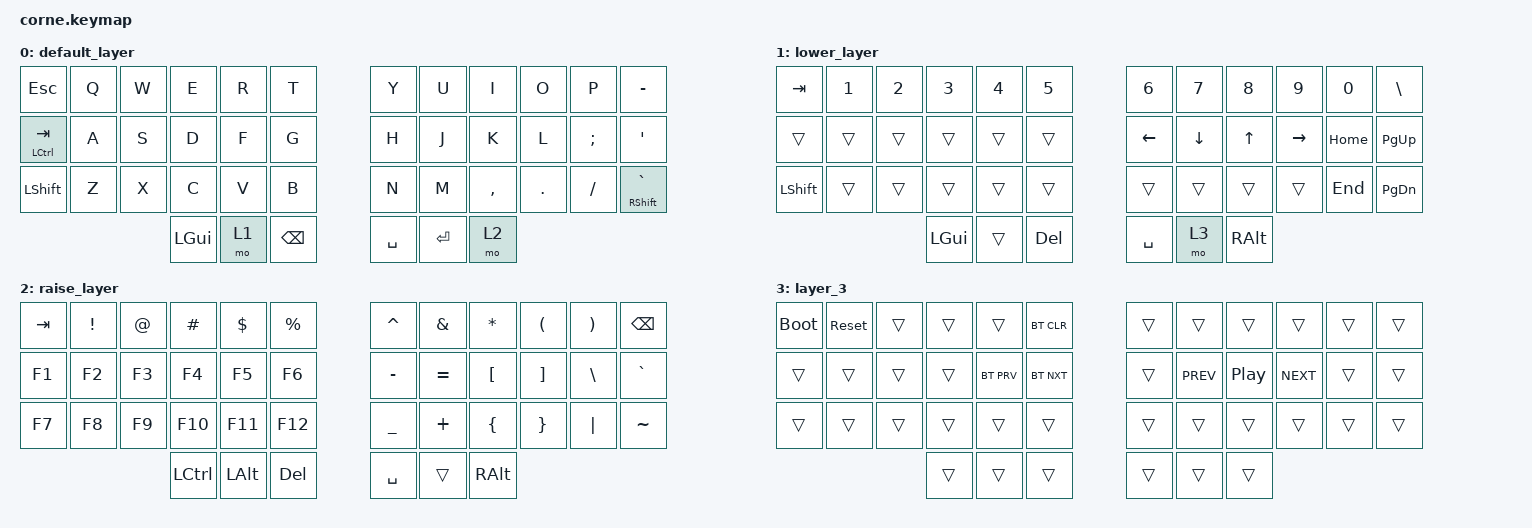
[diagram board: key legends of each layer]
/*
 * Copyright (c) 2020 The ZMK Contributors
 *
 * SPDX-License-Identifier: MIT
 */

#include <behaviors.dtsi>
#include <dt-bindings/zmk/bt.h>
#include <dt-bindings/zmk/keys.h>

#define DEFAULT 0
#define LOWER 1
#define RAISE 2
#define ALT 3

/ {
    keymap {
        compatible = "zmk,keymap";

        default_layer {
            // -----------------------------------------------------------------------------------------
            // |  ESC      |  Q  |  W  |  E  |  R  |  T  |   |  Y  |  U   |  I  |  O  |  P  | MINUS |
            // | CTRL(TAB) |  A  |  S  |  D  |  F  |  G  |   |  H  |  J   |  K  |  L  |  ;  |  '   |
            // | SHFT      |  Z  |  X  |  C  |  V  |  B  |   |  N  |  M   |  ,  |  .  |  /  | ESHFT(GRV)  |
            //                    | GUI | LWR | BKSP |   | SPC | ENT  | MOD(2) |

            bindings = <
&kp ESC        &kp Q  &kp W  &kp E     &kp R  &kp T       &kp Y      &kp U    &kp I      &kp O    &kp P     &kp MINUS
&mt LCTRL TAB  &kp A  &kp S  &kp D     &kp F  &kp G       &kp H      &kp J    &kp K      &kp L    &kp SEMI  &kp SQT
&kp LSHFT      &kp Z  &kp X  &kp C     &kp V  &kp B       &kp N      &kp M    &kp COMMA  &kp DOT  &kp FSLH  &mt RSHFT GRAVE
                             &kp LGUI  &mo 1  &kp BSPC    &kp SPACE  &kp RET  &mo 2
            >;
        };

        lower_layer {
            // -----------------------------------------------------------------------------------------
            // |  TAB |  1  |  2  |  3  |  4  |  5  |   |  6  |  7  |  8  |  9  |  0  | BSLH |
            // | BTCLR| BT1 | BT2 | BT3 | BT4 | BT5 |   | LFT | DWN |  UP | RGT | HOME| PGUP |
            // | SHFT |     |     |     |     |     |   |     |     |     |     | END | PGDN |
            //                    | GUI |     | DEL |   | SPC | MOD(3)| ALT |

            bindings = <
&kp TAB    &kp N1  &kp N2  &kp N3    &kp N4  &kp N5     &kp N6     &kp N7    &kp N8    &kp N9     &kp N0    &kp BSLH
&trans     &trans  &trans  &trans    &trans  &trans     &kp LEFT   &kp DOWN  &kp UP    &kp RIGHT  &kp HOME  &kp PG_UP
&kp LSHFT  &trans  &trans  &trans    &trans  &trans     &trans     &trans    &trans    &trans     &kp END   &kp PG_DN
                           &kp LGUI  &trans  &kp DEL    &kp SPACE  &mo 3     &kp RALT
            >;
        };

        raise_layer {
            // -----------------------------------------------------------------------------------------
            // |  TAB |  !  |  @  |  #  |  $  |  %  |   |  ^  |  &  |  *  |  (  |  )  | BKSP |
            // | F1   | F2  | F3  | F4  | F5  | F6  |   |  -  |  =  |  [  |  ]  |  \  |  `   |
            // | F7   | F8  | F9  | F10 | F11 | F12 |   |  _  |  +  |  {  |  }  | "|" |  ~   |
            //                    | GUI | MOD3| DEL |   | SPC |     | ALT |

            bindings = <
&kp TAB  &kp EXCL  &kp AT  &kp HASH          &kp DLLR      &kp PRCNT    &kp CARET  &kp AMPS   &kp ASTRK  &kp LPAR  &kp RPAR  &kp BSPC
&kp F1   &kp F2    &kp F3  &kp F4            &kp F5        &kp F6       &kp MINUS  &kp EQUAL  &kp LBKT   &kp RBKT  &kp BSLH  &kp GRAVE
&kp F7   &kp F8    &kp F9  &kp F10           &kp F11       &kp F12      &kp UNDER  &kp PLUS   &kp LBRC   &kp RBRC  &kp PIPE  &kp TILDE
                           &kp LEFT_CONTROL  &kp LEFT_ALT  &kp DEL      &kp SPC    &trans     &kp RALT
            >;
        };

        layer_3 {
            bindings = <
&bootloader  &sys_reset  &trans  &trans  &trans      &bt BT_CLR    &trans  &trans      &trans            &trans      &trans  &trans
&trans       &trans      &trans  &trans  &bt BT_PRV  &bt BT_NXT    &trans  &kp K_PREV  &kp C_PLAY_PAUSE  &kp K_NEXT  &trans  &trans
&trans       &trans      &trans  &trans  &trans      &trans        &trans  &trans      &trans            &trans      &trans  &trans
                                 &trans  &trans      &trans        &trans  &trans      &trans
            >;
        };
    };
};
